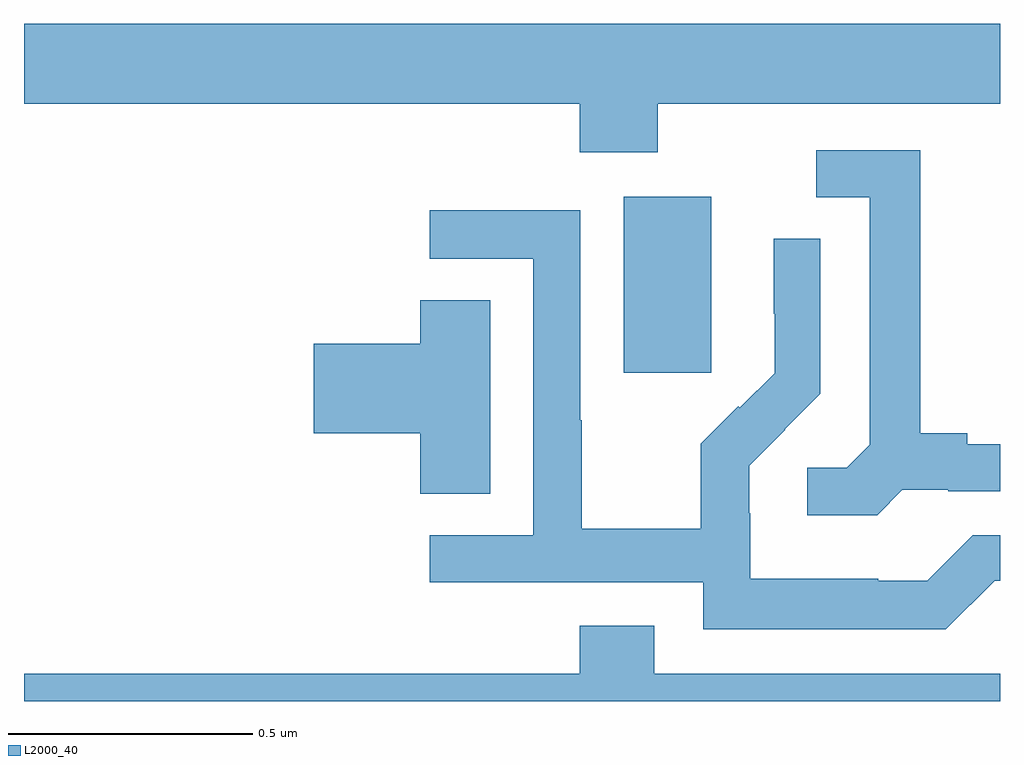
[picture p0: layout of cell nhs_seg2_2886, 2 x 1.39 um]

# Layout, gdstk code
import gdstk
lib = gdstk.Library(unit=1e-6, precision=1e-09)
def R(c, l, rs):  # rectangles x0, y0, x1, y1
    for r in rs: c.add(gdstk.rectangle(r[:2], r[2:], *l))
def P(c, l, *ps):  # polygons
    for p in ps: c.add(gdstk.Polygon(p, *l))
L2000_40 = (2000, 40)

nhs_seg2_2886 = lib.new_cell('nhs_seg2_2886')
R(nhs_seg2_2886, L2000_40, [(148.229,592.473,148.408,592.834)])
P(nhs_seg2_2886, L2000_40, [(148.299,593.024),(149,593.024),(149,593.188),(147,593.188),(147,593.024),(148.139,593.024),(148.139,592.925),(148.299,592.925)],
  [(148.8,592.233),(148.894,592.233),(148.894,592.23),(149,592.23),(149,592.326),(148.933,592.326),(148.933,592.349),(148.837,592.349),(148.837,592.929),(148.623,592.929),(148.623,592.833),(148.733,592.833),(148.733,592.325),(148.686,592.278),(148.605,592.278),(148.605,592.181),(148.748,592.181)],
  [(148.989,592.047),(149,592.047),(149,592.14),(148.944,592.14),(148.851,592.047),(148.751,592.047),(148.751,592.051),(148.488,592.051),(148.488,592.185),(148.486,592.185),(148.486,592.282),(148.56,592.356),(148.559,592.357),(148.632,592.43),(148.632,592.748),(148.536,592.748),(148.536,592.594),(148.538,592.594),(148.538,592.472),(148.467,592.401),(148.464,592.404),(148.387,592.327),(148.387,592.153),(148.143,592.153),(148.143,592.376),(148.14,592.376),(148.14,592.806),(147.831,592.806),(147.831,592.707),(148.044,592.707),(148.044,592.14),(147.831,592.14),(147.831,592.044),(148.392,592.044),(148.392,591.947),(148.889,591.947)],
  [(147.955,592.622),(147.812,592.622),(147.812,592.532),(147.594,592.532),(147.594,592.349),(147.812,592.349),(147.812,592.225),(147.955,592.225)],
  [(149,591.856),(148.291,591.856),(148.291,591.955),(148.139,591.955),(148.139,591.856),(147,591.856),(147,591.8),(149,591.8)])

lib.write_gds('nhs_seg2_2886.gds')
